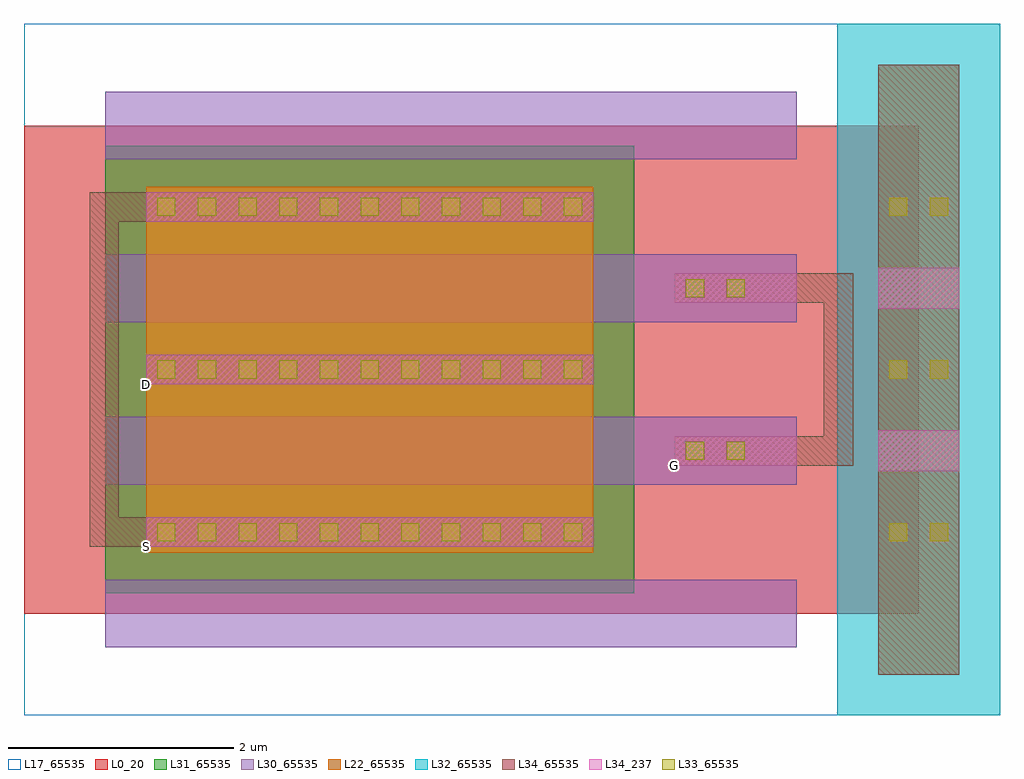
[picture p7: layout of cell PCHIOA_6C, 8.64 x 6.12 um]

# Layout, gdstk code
import gdstk
lib = gdstk.Library(unit=1e-6, precision=1e-09)
def R(c, l, rs):  # rectangles x0, y0, x1, y1
    for r in rs: c.add(gdstk.rectangle(r[:2], r[2:], *l))
def A(c, l, x, y, w, h, nx, ny, dx, dy):  # array of equal rectangles
    R(c, l, [(x+i*dx, y+j*dy, x+i*dx+w, y+j*dy+h) for i in range(nx) for j in range(ny)])
L0_20 = (0, 20)
L17_65535 = (17, 65535)
L22_65535 = (22, 65535)
L30_65535 = (30, 65535)
L31_65535 = (31, 65535)
L32_65535 = (32, 65535)
L33_65535 = (33, 65535)
L34_237 = (34, 237)
L34_65535 = (34, 65535)

pchio_6c = lib.new_cell('PCHIO_6C')
R(pchio_6c, L0_20, [(0,0,7.92,2.88)])
R(pchio_6c, L17_65535, [(0,-0.9,8.64,3.78)])
A(pchio_6c, L22_65535, 7.56, -0.54, 0.72, 0.36, 1, 11, 0, 0.36)
A(pchio_6c, L22_65535, 1.08, 0.54, 3.96, 0.36, 1, 5, 0, 0.36)
A(pchio_6c, L30_65535, 0.72, -0.3, 6.12, 0.6, 1, 3, 0, 1.44)
R(pchio_6c, L31_65535, [(0.72,0.18,5.4,2.7)])
R(pchio_6c, L32_65535, [(7.2,-0.9,8.64,3.78)])
A(pchio_6c, L33_65535, 1.18, 0.64, 0.16, 0.16, 11, 2, 0.36, 1.44)
R(pchio_6c, L33_65535, [(7.66,0.64,7.82,0.8), (8.02,0.64,8.18,0.8), (5.86,1.36,6.02,1.52), (6.22,1.36,6.38,1.52), (7.66,2.08,7.82,2.24), (8.02,2.08,8.18,2.24)])
R(pchio_6c, L34_237, [(1.08,0.59,5.04,0.85), (7.56,1.26,8.28,1.62), (5.76,1.31,6.84,1.57), (1.08,2.03,5.04,2.29)])
A(pchio_6c, L34_65535, 7.56, -0.54, 0.72, 0.36, 1, 11, 0, 0.36)
R(pchio_6c, L34_65535, [(1.08,0.59,5.04,0.85), (5.76,1.31,6.84,1.57), (1.08,2.03,5.04,2.29)])
pchio_6c.add(gdstk.Label('G', (5.76,1.31), layer=34, texttype=237))
pchio_6c.add(gdstk.Label('S', (1.08,0.59), layer=34, texttype=237))
pchio_6c.add(gdstk.Label('B', (7.56,1.26), layer=34, texttype=237))
pchio_6c.add(gdstk.Label('D', (1.08,2.03), layer=34, texttype=237))

pchioa_6c = lib.new_cell('PCHIOA_6C')
R(pchioa_6c, L0_20, [(0,0,7.92,4.32)])
R(pchioa_6c, L34_237, [(1.08,0.59,5.04,0.85), (5.76,1.31,6.84,1.57), (1.08,2.03,5.04,2.29)])
R(pchioa_6c, L34_65535, [(0.58,0.59,3.06,0.85), (0.58,0.59,0.84,3.73), (6.3,1.31,7.08,1.57), (7.08,1.31,7.34,3.01), (6.3,2.75,7.08,3.01), (0.58,3.47,3.06,3.73)])
pchioa_6c.add(gdstk.Reference(pchio_6c, (0,0)))
pchioa_6c.add(gdstk.Reference(pchio_6c, (0,1.44)))
pchioa_6c.add(gdstk.Label('S', (1.08,0.59), layer=58, texttype=65535))
pchioa_6c.add(gdstk.Label('G', (5.76,1.31), layer=58, texttype=65535))
pchioa_6c.add(gdstk.Label('D', (1.08,2.03), layer=34, texttype=237))
pchioa_6c.add(gdstk.Label('G', (5.76,1.31), layer=34, texttype=237))
pchioa_6c.add(gdstk.Label('S', (1.08,0.59), layer=34, texttype=237))

lib.write_gds('PCHIOA_6C.gds')
